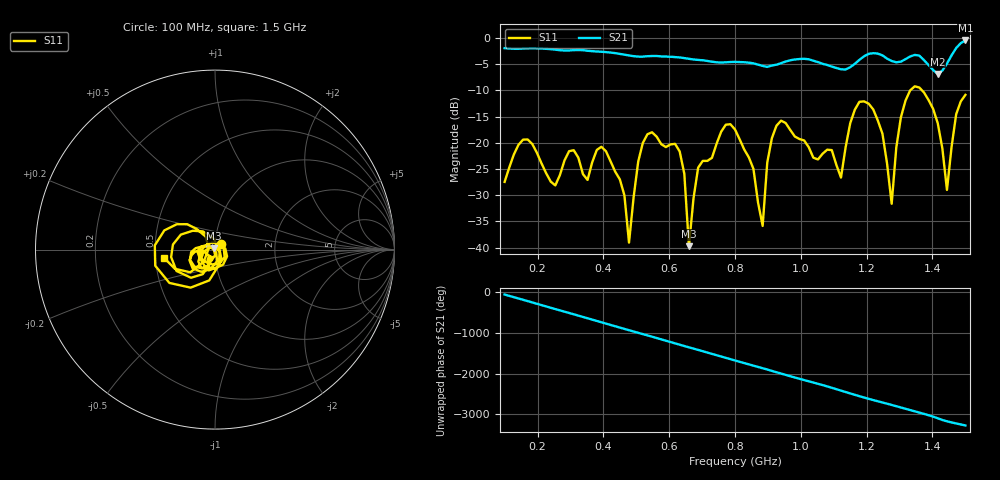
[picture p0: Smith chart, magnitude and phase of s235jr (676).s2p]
! NanoVNA-App
! Date: 2025-09-25 15:09:26
! Start: 100MHz Stop: 1,5GHz Points: 101
! S-Parameter data: F S11 S21 S12 S22
# Hz S RI R 50
!  Frequency  S11_Real  S11_Imag  S21_Real  S21_Imag  S12_Real  S12_Imag  S22_Real  S22_Imag
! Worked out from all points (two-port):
!   101 points, 100 MHz to 1.5 GHz, reference 50 ohm
!   highest |S21| = -0.50 dB at 1.5 GHz (marker M1); lowest = -6.9 dB at 1.416 GHz (marker M2)
!   |S21| within 3 dB of the highest: start of sweep to 492.5 MHz; 1.193 GHz to 1.251 GHz (58.71 MHz wide, 4.8 % of centre)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
!   lowest |S11| = -39.7 dB at 660 MHz (marker M3), VSWR 1.02, Z = 49.2 + j0.631 ohm
!   |S11| at or under -10 dB: start of sweep to 1.333 GHz; 1.368 GHz to end of sweep
!   S12 and S22 are empty: the file has one direction only
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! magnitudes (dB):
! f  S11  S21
! 100 MHz  -27.5  -2.0
! 156 MHz  -19.4  -2.0
! 338 MHz  -26.0  -2.4
! 408 MHz  -21.6  -2.7
! 478 MHz  -39.0  -3.4
! 520 MHz  -20.0  -3.6
! 576 MHz  -20.3  -3.5
! 632 MHz  -21.7  -3.7
! 660 MHz  -39.7  -4.0
! 688 MHz  -24.8  -4.2
! 800 MHz  -17.5  -4.6
! 884 MHz  -35.9  -5.3
! 926 MHz  -16.8  -5.1
! 1.038 GHz  -22.9  -4.4
! 1.122 GHz  -26.7  -6.0
! 1.164 GHz  -13.7  -5.0
! 1.206 GHz  -12.5  -3.1
! 1.276 GHz  -31.6  -4.4
! 1.332 GHz  -10.0  -3.6
! 1.416 GHz  -16.3  -6.9
! 1.444 GHz  -29.0  -4.9
! 1.5 GHz  -10.9  -0.5
